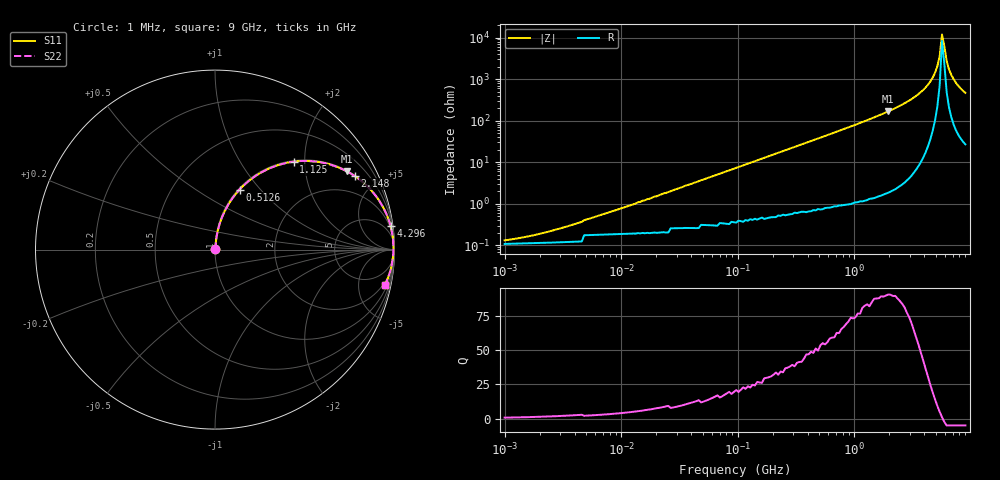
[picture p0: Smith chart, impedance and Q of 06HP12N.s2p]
# MHz S MA R 50
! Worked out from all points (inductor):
!   198 points, 1 MHz to 9 GHz, reference 50 ohm
!   read as one part in series: L = 12 nH near 7.296 MHz
!   highest Q = 90.5 at 1.958 GHz (marker M1), where L = 13.6 nH
!   self-resonance near 5.669 GHz
!   S11 on the Smith chart (normalised r, x): 1 MHz: 1.00, +0.00; 512.6 MHz: 1.01, +0.78; 1.125 GHz: 1.02, +1.76; 2.148 GHz: 1.04, +3.76; 4.296 GHz: 1, +15; 9 GHz: 1.56, -9.30
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1  0.001384 32.9  0.999 -0.0  0.999 -0.0  0.001384 32.9
2.095  0.002036 50.7  0.999 -0.1  0.999 -0.1  0.002036 50.7
4.596  0.003765 66.6  0.999 -0.2  0.999 -0.2  0.003765 66.6
21.124  0.016 81.3  0.998 -0.9  0.998 -0.9  0.016 81.3
97.086  0.073 83.0  0.994 -4.2  0.994 -4.2  0.073 83.0
446.214  0.319 70.2  0.941 -18.6  0.941 -18.6  0.319 70.2
512.578  0.361 67.8  0.926 -21.1  0.926 -21.1  0.361 67.8
1124.577  0.657 48.2  0.745 -41.1  0.745 -41.1  0.657 48.2
1958.198  0.854 30.7  0.511 -58.6  0.511 -58.6  0.854 30.7
2050.827  0.867 29.3  0.489 -60.1  0.489 -60.1  0.867 29.3
2147.837  0.879 27.8  0.467 -61.5  0.467 -61.5  0.879 27.8
3255.757  0.96 15.4  0.265 -73.7  0.265 -73.7  0.96 15.4
4296.213  0.987 7.7  0.134 -80.4  0.134 -80.4  0.987 7.7
4712.272  0.991 5.2  0.091 -81.8  0.091 -81.8  0.991 5.2
5168.624  0.994 2.8  0.049 -81.1  0.049 -81.1  0.994 2.8
5413.115  0.994 1.6  0.028 -77.1  0.028 -77.1  0.994 1.6
5669.171  0.994 0.3  0.008373 -45.7  0.008373 -45.7  0.994 0.3
5937.339  0.994 -0.9  0.016 67.0  0.016 67.0  0.994 -0.9
6218.192  0.993 -2.1  0.037 77.6  0.037 77.6  0.993 -2.1
6512.33  0.991 -3.3  0.058 79.7  0.058 79.7  0.991 -3.3
7480.891  0.984 -7.0  0.122 78.9  0.122 78.9  0.984 -7.0
9000  0.966 -11.9  0.207 74.7  0.207 74.7  0.966 -11.9
